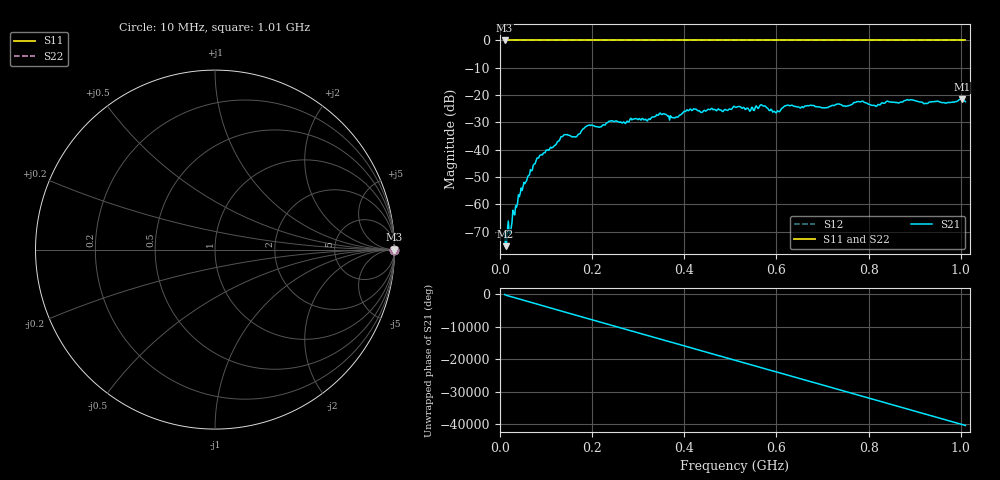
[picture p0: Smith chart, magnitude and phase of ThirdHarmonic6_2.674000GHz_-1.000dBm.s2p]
! 8/17/2025 6:14:42 AM
! C:\ANRITSUVNA\TEMP\TEMP.S2P
! CHANNEL.1
! TR.MEASUREMENT
! RAW.DATA
! RF.CORRECTION.OFF
! AVERAGING.OFF
! IF.BANDWIDTH: 5KHZ
! SWEEPTYPE:  FREQ.SWEEP(Linear)
! Reference Plane Port Info
! PORT:  PORT1  PORT2
! DISTANCE:  0  m  0  m
! TIME:  0  s  0  s
! PHASE.OFFSET:  0  deg.  0  deg.
! LOSS:  0  dB  0  dB
! REF.LOSS:  0  dB  0  dB
! REF.FREQ:  0  Hz  0  Hz
! Power Info
! POWER:  -20  dBm  -20  dBm
! EFF.POWER:  -20  dBm  -20  dBm
! SOURCE.ATTEN:  0  dB  0  dB
! TEST.ATTEN:  0  dB  0  dB
# GHZ S RI R 50.0
! FREQ.GHZ  S11RE  S11IM  S21RE  S21IM  S12RE  S12IM  S22RE  S22IM
!; PortSelection: Port_12
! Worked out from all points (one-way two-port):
!   501 points, 10 MHz to 1.01 GHz, reference 50 ohm
!   highest |S21| = -21.47 dB at 1.002 GHz (marker M1); lowest = -75.3 dB at 12 MHz (marker M2)
!   lowest |S11| = 0.0 dB at 10 MHz (marker M3)
!   |S11| at or under -10 dB: nowhere
!   |S22| runs from 0.0 to 0.0 dB; largest |S21 - S12| = 1.1
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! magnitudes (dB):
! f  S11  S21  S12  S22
! 10 MHz  0.0  -70.8  0.0  0.0
! 12 MHz  0.0  -75.3  0.0  0.0
! 24 MHz  0.0  -68.9  0.0  0.0
! 44 MHz  0.0  -55.9  0.0  0.0
! 82 MHz  0.0  -43.0  0.0  0.0
! 136 MHz  0.0  -35.1  0.0  0.0
! 164 MHz  0.0  -35.4  0.0  0.0
! 178 MHz  0.0  -32.9  0.0  0.0
! 194 MHz  0.0  -31.0  0.0  0.0
! 322 MHz  0.0  -28.8  0.0  0.0
! 344 MHz  0.0  -27.4  0.0  0.0
! 378 MHz  0.0  -28.3  0.0  0.0
! 410 MHz  0.0  -25.7  0.0  0.0
! 510 MHz  0.0  -24.4  0.0  0.0
! 570 MHz  0.0  -23.8  0.0  0.0
! 596 MHz  0.0  -26.0  0.0  0.0
! 622 MHz  0.0  -23.7  0.0  0.0
! 678 MHz  0.0  -23.8  0.0  0.0
! 814 MHz  0.0  -23.9  0.0  0.0
! 844 MHz  0.0  -22.4  0.0  0.0
! 1.002 GHz  0.0  -21.5  0.0  0.0
! 1.01 GHz  0.0  -22.4  0.0  0.0
